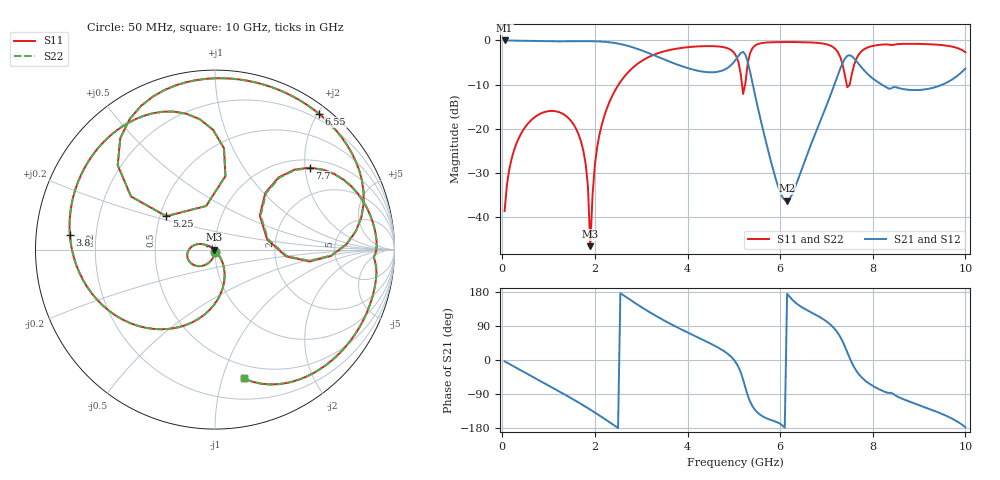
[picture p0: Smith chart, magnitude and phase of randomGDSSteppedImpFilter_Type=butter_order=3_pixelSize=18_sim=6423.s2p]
! freq	dB(S11)	phase(S11)	dB(S12)	phase(S12)
!  dB(S21)	phase(S21)	dB(S22)	phase(S22)
!S-par simulation data
#  GHz  S  DB  R 50
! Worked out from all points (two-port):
!   200 points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, 50 MHz to 10 GHz, reference 50 ohm
!   highest |S21| = -0.01 dB at 50 MHz (marker M1); lowest = -36.2 dB at 6.15 GHz (marker M2)
!   |S21| within 3 dB of the highest: start of sweep to 3.194 GHz; 5.137 GHz to 5.234 GHz (96.83 MHz wide, 1.87 % of centre)
!   lowest |S11| = -46.5 dB at 1.9 GHz (marker M3), VSWR 1.01, Z = 49.5 - j0.109 ohm
!   |S11| at or under -10 dB: start of sweep to 2.511 GHz; 5.176 GHz to 5.243 GHz (66.64 MHz wide, 1.28 % of centre); 7.439 GHz to 7.501 GHz (62.44 MHz wide, 0.836 % of centre)
!   |S22| runs from -47.2 to -0.4 dB; largest |S21 - S12| = 0
!   S11 on the Smith chart (normalised r, x): 50 MHz: 1.00, -0.02; 3.8 GHz: 0.10, +0.05; 5.25 GHz: 0.54, +0.22; 6.55 GHz: 0.12, +2.02; 7.7 GHz: 1.19, +2.11; 10 GHz: 0.38, -1.18
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0.05  -38.59 -92.8  -0.01 -3.5  -0.01 -3.5  -38.59 -92.8
0.25  -24.95 -106.9  -0.04 -17.1  -0.04 -17.1  -24.95 -106.9
0.7  -17.36 -137.7  -0.15 -47.3  -0.15 -47.3  -17.36 -137.7
1.35  -16.88 178.8  -0.20 -91.2  -0.20 -91.2  -16.88 178.7
1.75  -24.94 152.7  -0.17 -119.7  -0.17 -119.7  -24.94 152.3
1.85  -33.04 151.2  -0.17 -127.2  -0.17 -127.2  -33.07 150.0
1.9  -46.54 -166.6  -0.17 -131.0  -0.17 -131.0  -47.24 -169.9
2  -28.00 -55.5  -0.19 -138.7  -0.19 -138.7  -28.01 -54.8
2.25  -15.62 -71.3  -0.35 -158.7  -0.35 -158.7  -15.62 -71.1
3.4  -2.76 -160.3  -3.89 110.6  -3.89 110.6  -2.76 -160.3
3.8  -1.80 174.2  -5.54 84.7  -5.54 84.7  -1.80 174.2
5.05  -3.51 90.9  -4.25 -7.6  -4.25 -7.6  -3.51 90.9
5.25  -9.65 145.7  -3.20 -73.2  -3.20 -73.2  -9.63 145.6
5.55  -0.72 112.1  -16.67 -142.7  -16.67 -142.7  -0.72 112.0
6.15  -0.37 73.5  -36.25 174.6  -36.25 174.6  -0.37 73.5
6.55  -0.42 52.5  -26.72 133.6  -26.72 133.6  -0.42 52.5
6.7  -0.48 44.3  -22.62 123.9  -22.62 123.9  -0.48 44.3
7.35  -5.47 -7.1  -5.08 48.7  -5.08 48.7  -5.44 -6.8
7.45  -10.57 10.9  -3.49 20.4  -3.49 20.4  -10.44 11.0
7.7  -3.13 40.9  -5.37 -37.6  -5.37 -37.6  -3.12 40.6
8.35  -0.94 -0.8  -10.93 -86.7  -10.93 -86.7  -0.95 -1.0
10  -2.67 -77.4  -6.36 -177.5  -6.36 -177.5  -2.67 -77.5
